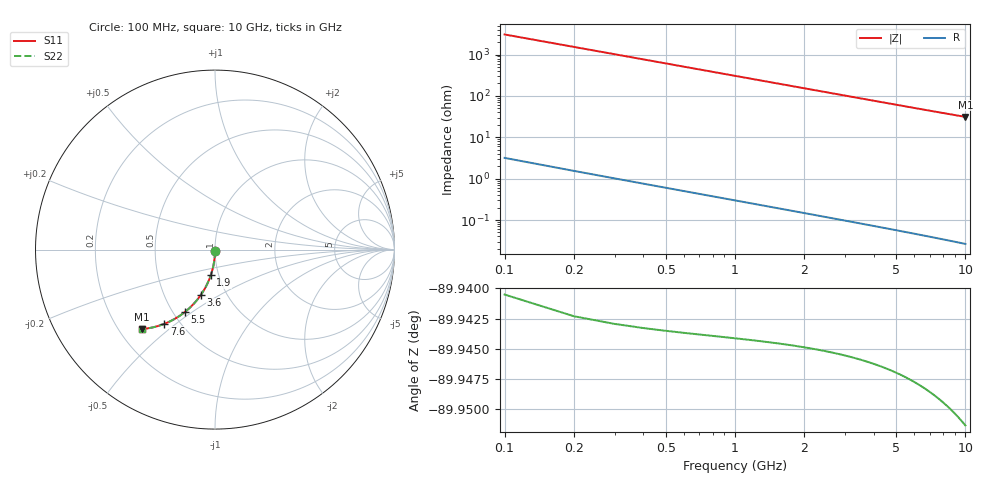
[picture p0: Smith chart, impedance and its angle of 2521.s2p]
# Hz S RI R 50.00
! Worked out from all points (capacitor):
!   100 points, 100 MHz to 10 GHz, reference 50 ohm
!   read as one part in shunt: C = 520 fF near 100 MHz
!   lowest |Z| = 31.2 ohm at 10 GHz (marker M1)
!   S11 on the Smith chart (normalised r, x): 100 MHz: 1.00, -0.02; 1.9 GHz: 0.92, -0.27; 3.6 GHz: 0.75, -0.41; 5.5 GHz: 0.57, -0.47; 7.6 GHz: 0.41, -0.46; 10 GHz: 0.29, -0.41
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1e8  8.65e-05 -0.00769  0.9998 -0.00865  0.9998 -0.00865  8.65e-05 -0.00769
2e8  -0.00012 -0.0154  0.9996 -0.0173  0.9996 -0.0173  -0.00012 -0.0154
3e8  -0.00046 -0.0231  0.9992 -0.0259  0.9992 -0.0259  -0.00046 -0.0231
4e8  -0.000932 -0.0307  0.9987 -0.0346  0.9987 -0.0346  -0.000932 -0.0307
5e8  -0.00154 -0.0384  0.9981 -0.0432  0.9981 -0.0432  -0.00154 -0.0384
6e8  -0.00227 -0.046  0.9974 -0.0518  0.9974 -0.0518  -0.00227 -0.046
8e8  -0.00414 -0.0613  0.9955 -0.0689  0.9955 -0.0689  -0.00414 -0.0613
1.1e9  -0.00791 -0.0839  0.9917 -0.0944  0.9917 -0.0944  -0.00791 -0.0839
1.4e9  -0.0128 -0.1063  0.9867 -0.1197  0.9867 -0.1197  -0.0128 -0.1063
1.8e9  -0.0211 -0.1355  0.9784 -0.1527  0.9784 -0.1527  -0.0211 -0.1355
1.9e9  -0.0235 -0.1427  0.976 -0.1608  0.976 -0.1608  -0.0235 -0.1427
2.2e9  -0.0313 -0.1638  0.9681 -0.1849  0.9681 -0.1849  -0.0313 -0.1638
2.6e9  -0.0432 -0.1912  0.9561 -0.2161  0.9561 -0.2161  -0.0432 -0.1912
3.4e9  -0.0719 -0.2423  0.9272 -0.2749  0.9272 -0.2749  -0.0719 -0.2423
3.6e9  -0.08 -0.2542  0.9191 -0.2887  0.9191 -0.2887  -0.08 -0.2542
4.3e9  -0.1106 -0.2932  0.8882 -0.3345  0.8882 -0.3345  -0.1106 -0.2932
5.1e9  -0.1493 -0.3321  0.8492 -0.3811  0.8492 -0.3811  -0.1493 -0.3321
5.5e9  -0.1697 -0.3492  0.8285 -0.4021  0.8285 -0.4021  -0.1697 -0.3492
6.7e9  -0.2336 -0.3911  0.7639 -0.4558  0.7639 -0.4558  -0.2336 -0.3911
7.6e9  -0.2826 -0.4137  0.7143 -0.4873  0.7143 -0.4873  -0.2826 -0.4137
8.4e9  -0.3258 -0.428  0.6705 -0.5096  0.6705 -0.5096  -0.3258 -0.428
1e10  -0.4085 -0.4426  0.5863 -0.5404  0.5863 -0.5404  -0.4085 -0.4426
